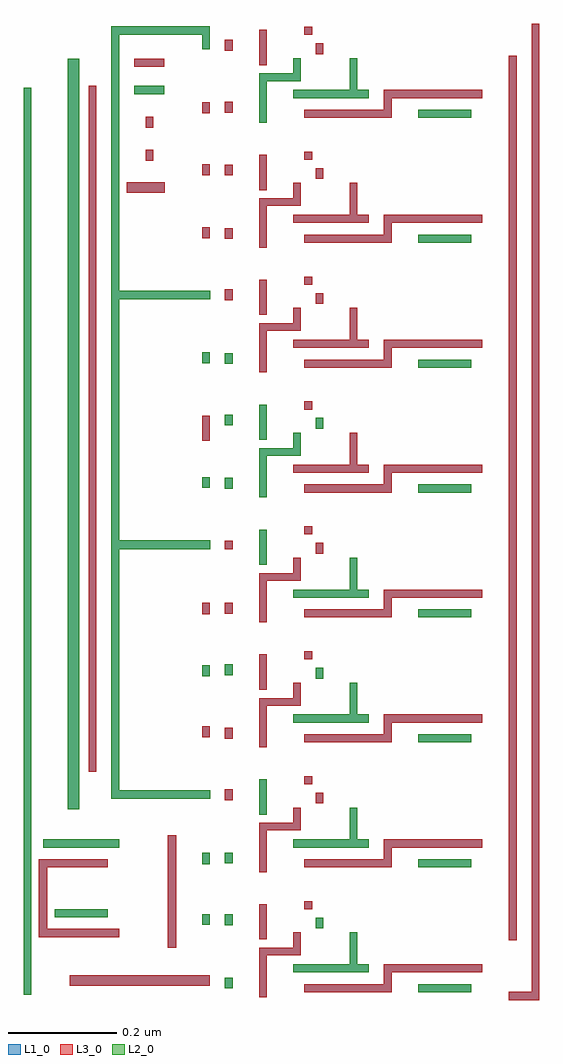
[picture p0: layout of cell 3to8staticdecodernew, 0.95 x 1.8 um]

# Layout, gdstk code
import gdstk
lib = gdstk.Library(unit=1e-6, precision=5e-10)
def R(c, l, rs):  # rectangles x0, y0, x1, y1
    for r in rs: c.add(gdstk.rectangle(r[:2], r[2:], *l))
def A(c, l, x, y, w, h, nx, ny, dx, dy):  # array of equal rectangles
    R(c, l, [(x+i*dx, y+j*dy, x+i*dx+w, y+j*dy+h) for i in range(nx) for j in range(ny)])
def P(c, l, *ps):  # polygons
    for p in ps: c.add(gdstk.Polygon(p, *l))
L1_0 = (1, 0)
L2_0 = (2, 0)
L3_0 = (3, 0)

proto_hold_nor_1r = lib.new_cell('PROTO_HOLD_nor_1R')
R(proto_hold_nor_1r, L1_0, [(0.2055,-0.113,0.2195,-0.098), (0.2475,-0.087,0.2615,-0.072), (0.2265,-0.055,0.2405,-0.04)])
R(proto_hold_nor_1r, L3_0, [(0.2265,-0.055,0.2405,-0.04)])

nand = lib.new_cell('nand')
R(nand, L1_0, [(0.258,0.1025,0.272,0.1675), (0.153,0.1235,0.167,0.1385), (0.195,0.1235,0.209,0.1385)])

inv = lib.new_cell('inv')
R(inv, L1_0, [(0.0695,0.039,0.0835,0.054), (0.0485,0.0985,0.1045,0.1135)])

invx4 = lib.new_cell('invx4')
R(invx4, L1_0, [(0.0755,0.0545,0.1735,0.0695), (0.0545,0.091,0.1945,0.106)])

buffer_highdrive = lib.new_cell('buffer_highdrive')
R(buffer_highdrive, L1_0, [(0.3675,0.0575,0.3745,0.064), (0.2835,0.096,0.29,0.101)])
P(buffer_highdrive, L1_0, [(0.259,0.1055),(0.259,0.0905),(0.2315,0.0905),(0.2315,0.054),(0.168,0.054),(0.168,0.069),(0.2165,0.069),(0.2165,0.1055)])
R(buffer_highdrive, L2_0, [(0.28,0.054,0.378,0.069)])
P(buffer_highdrive, L3_0, [(0.399,0.1055),(0.399,0.0905),(0.2315,0.0905),(0.2315,0.054),(0.07,0.054),(0.07,0.069),(0.2165,0.069),(0.2165,0.1055)])
buffer_highdrive.add(gdstk.Reference(invx4, (-0.0055,-0.0005)))
buffer_highdrive.add(gdstk.Reference(invx4, (0.2045,-0.0005)))

c_3to8staticdecodernew = lib.new_cell('3to8staticdecodernew')
A(c_3to8staticdecodernew, L1_0, 0.7785, -1.3785, 0.014, 0.074, 1, 8, 0, 0.231)
A(c_3to8staticdecodernew, L1_0, 0.6105, -1.297, 0.014, 0.02, 1, 8, 0, 0.231)
A(c_3to8staticdecodernew, L1_0, 0.7155, -1.297, 0.014, 0.02, 1, 8, 0, 0.231)
A(c_3to8staticdecodernew, L1_0, 0.5055, -0.4825, 0.014, 0.02, 1, 3, 0, 0.231)
R(c_3to8staticdecodernew, L1_0, [(0.5475,-1.408,0.5615,-1.388), (0.26,-1.4035,0.5195,-1.3835), (0.442,-1.3325,0.457,-1.1245), (1.072,-1.319,1.087,0.317), (0.5475,-1.291,0.5615,-1.271), (0.5055,-1.2905,0.5195,-1.2705), (0.2365,-1.2715,0.2435,-1.265), (0.5055,-1.178,0.5195,-1.158), (0.5475,-1.177,0.5615,-1.157), (0.214,-1.1445,0.225,-1.1335), (0.236,-1.142,0.2425,-1.137), (0.257,-1.0765,0.278,0.3115), (0.5475,-1.06,0.5615,-1.04), (0.2955,-1.0075,0.3095,0.261), (0.5475,-0.946,0.5615,-0.926), (0.5055,-0.9435,0.5195,-0.9235), (0.5055,-0.8305,0.5195,-0.8105), (0.5475,-0.829,0.5615,-0.809), (0.5055,-0.716,0.5195,-0.696), (0.5475,-0.715,0.5615,-0.695), (0.5475,-0.484,0.5615,-0.464), (0.5055,-0.395,0.5195,-0.349), (0.5475,-0.367,0.5615,-0.347), (0.5475,-0.253,0.5615,-0.233), (0.5475,-0.1355,0.5615,-0.1155), (0.5475,-0.022,0.5615,-0.002), (0.366,0.063,0.436,0.083), (0.5475,0.0955,0.5615,0.1155), (0.5055,0.096,0.5195,0.116), (0.4005,0.1225,0.4145,0.1425), (0.4005,0.184,0.4145,0.204), (0.5055,0.2105,0.5195,0.2305), (0.5475,0.2115,0.5615,0.2315), (0.3815,0.248,0.397,0.259), (0.5475,0.326,0.5615,0.346)])
P(c_3to8staticdecodernew, L1_0, [(0.688,0.3125),(0.688,0.27),(0.6245,0.27),(0.6245,0.237),(0.6105,0.237),(0.6105,0.284),(0.6735,0.284),(0.6735,0.3125)],
  [(0.688,0.0815),(0.688,0.039),(0.6245,0.039),(0.6245,0.006),(0.6105,0.006),(0.6105,0.053),(0.6735,0.053),(0.6735,0.0815)],
  [(0.688,-0.1495),(0.688,-0.192),(0.6245,-0.192),(0.6245,-0.225),(0.6105,-0.225),(0.6105,-0.178),(0.6735,-0.178),(0.6735,-0.1495)],
  [(0.688,-0.3805),(0.688,-0.423),(0.6245,-0.423),(0.6245,-0.456),(0.6105,-0.456),(0.6105,-0.409),(0.6735,-0.409),(0.6735,-0.3805)],
  [(0.688,-0.6115),(0.688,-0.654),(0.6245,-0.654),(0.6245,-0.687),(0.6105,-0.687),(0.6105,-0.64),(0.6735,-0.64),(0.6735,-0.6115)],
  [(0.688,-0.8425),(0.688,-0.885),(0.6245,-0.885),(0.6245,-0.918),(0.6105,-0.918),(0.6105,-0.871),(0.6735,-0.871),(0.6735,-0.8425)],
  [(0.688,-1.0735),(0.688,-1.116),(0.6245,-1.116),(0.6245,-1.149),(0.6105,-1.149),(0.6105,-1.102),(0.6735,-1.102),(0.6735,-1.0735)],
  [(0.688,-1.3045),(0.688,-1.347),(0.6245,-1.347),(0.6245,-1.38),(0.6105,-1.38),(0.6105,-1.333),(0.6735,-1.333),(0.6735,-1.3045)],
  [(0.247,-1.169),(0.247,-1.184),(0.2185,-1.184),(0.2185,-1.298),(0.2255,-1.298),(0.2255,-1.313),(0.2035,-1.313),(0.2035,-1.169)],
  [(1.129,0.3755),(1.129,-1.4295),(1.0725,-1.4295),(1.0725,-1.4145),(1.1145,-1.4145),(1.1145,0.3755)],
  [(0.352,0.3715),(0.352,0.371),(0.5195,0.371),(0.5195,0.3295),(0.5055,0.3295),(0.5055,0.356),(0.352,0.356),(0.352,-0.1175),(0.52,-0.1175),(0.52,-0.1335),(0.352,-0.1335),(0.352,-0.5795),(0.52,-0.5795),(0.52,-0.5955),(0.352,-0.5955),(0.352,-1.0415),(0.52,-1.0415),(0.52,-1.0575),(0.337,-1.0575),(0.337,0.3715)],
  [(0.189,0.258),(0.189,0.2315),(0.1895,0.2315),(0.1895,0.2115),(0.189,0.2115),(0.189,-1.157),(0.1895,-1.157),(0.1895,-1.177),(0.189,-1.177),(0.189,-1.388),(0.1895,-1.388),(0.1895,-1.408),(0.189,-1.408),(0.189,-1.4195),(0.175,-1.4195),(0.175,0.258)])
A(c_3to8staticdecodernew, L2_0, 0.7155, -1.297, 0.014, 0.02, 1, 3, 0, 0.462)
R(c_3to8staticdecodernew, L2_0, [(0.5475,-1.408,0.5615,-1.388), (0.5475,-1.291,0.5615,-1.271), (0.5055,-1.2905,0.5195,-1.2705), (0.2325,-1.2765,0.3305,-1.2615), (0.5055,-1.178,0.5195,-1.157), (0.5475,-1.177,0.5615,-1.157), (0.2115,-1.1475,0.3515,-1.1325), (0.6105,-1.0865,0.6245,-1.0215), (0.257,-1.0765,0.278,0.3115), (0.5055,-0.8305,0.5195,-0.8105), (0.5475,-0.829,0.5615,-0.809), (0.6105,-0.6245,0.6245,-0.5595), (0.5475,-0.484,0.5615,-0.464), (0.5055,-0.4825,0.5195,-0.4625), (0.6105,-0.3935,0.6245,-0.3285), (0.5475,-0.367,0.5615,-0.347), (0.5475,-0.253,0.5615,-0.233), (0.5055,-0.2515,0.5195,-0.2315), (0.3795,0.246,0.4355,0.261)])
P(c_3to8staticdecodernew, L2_0, [(0.7925,0.3125),(0.7925,0.2535),(0.8135,0.2535),(0.8135,0.2385),(0.6735,0.2385),(0.6735,0.2535),(0.7785,0.2535),(0.7785,0.3125)],
  [(0.7925,-0.6115),(0.7925,-0.6705),(0.8135,-0.6705),(0.8135,-0.6855),(0.6735,-0.6855),(0.6735,-0.6705),(0.7785,-0.6705),(0.7785,-0.6115)],
  [(0.7925,-0.8425),(0.7925,-0.9015),(0.8135,-0.9015),(0.8135,-0.9165),(0.6735,-0.9165),(0.6735,-0.9015),(0.7785,-0.9015),(0.7785,-0.8425)],
  [(0.7925,-1.0735),(0.7925,-1.1325),(0.8135,-1.1325),(0.8135,-1.1475),(0.6735,-1.1475),(0.6735,-1.1325),(0.7785,-1.1325),(0.7785,-1.0735)],
  [(0.7925,-1.3045),(0.7925,-1.3635),(0.8135,-1.3635),(0.8135,-1.3785),(0.6735,-1.3785),(0.6735,-1.3635),(0.7785,-1.3635),(0.7785,-1.3045)],
  [(0.688,0.3125),(0.688,0.27),(0.6245,0.27),(0.6245,0.193),(0.6105,0.193),(0.6105,0.284),(0.6735,0.284),(0.6735,0.3125)],
  [(0.688,-0.3805),(0.688,-0.423),(0.6245,-0.423),(0.6245,-0.5),(0.6105,-0.5),(0.6105,-0.409),(0.6735,-0.409),(0.6735,-0.3805)],
  [(0.352,0.3715),(0.352,0.371),(0.5195,0.371),(0.5195,0.3285),(0.5055,0.3285),(0.5055,0.356),(0.352,0.356),(0.352,-0.1175),(0.52,-0.1175),(0.52,-0.1335),(0.352,-0.1335),(0.352,-0.5795),(0.52,-0.5795),(0.52,-0.5955),(0.352,-0.5955),(0.352,-1.0415),(0.52,-1.0415),(0.52,-1.0575),(0.337,-1.0575),(0.337,0.3715)],
  [(0.189,0.258),(0.189,0.2315),(0.1895,0.2315),(0.1895,0.2115),(0.189,0.2115),(0.189,-1.157),(0.1895,-1.157),(0.1895,-1.177),(0.189,-1.177),(0.189,-1.388),(0.1895,-1.388),(0.1895,-1.408),(0.189,-1.408),(0.189,-1.4195),(0.175,-1.4195),(0.175,0.258)])
A(c_3to8staticdecodernew, L3_0, 0.7155, -1.066, 0.014, 0.02, 1, 3, 0, 0.462)
A(c_3to8staticdecodernew, L3_0, 0.6105, -0.1625, 0.014, 0.065, 1, 3, 0, 0.231)
R(c_3to8staticdecodernew, L3_0, [(0.26,-1.4035,0.5195,-1.3835), (0.442,-1.3325,0.457,-1.1245), (1.072,-1.319,1.087,0.317), (0.6105,-1.3175,0.6245,-1.2525), (0.5475,-1.06,0.5615,-1.04), (0.2955,-1.0075,0.3095,0.261), (0.5475,-0.946,0.5615,-0.926), (0.5055,-0.9435,0.5195,-0.9235), (0.6105,-0.8555,0.6245,-0.7905), (0.5055,-0.716,0.5195,-0.695), (0.5475,-0.715,0.5615,-0.695), (0.5475,-0.5955,0.5615,-0.5805), (0.5055,-0.395,0.5195,-0.349), (0.5475,-0.1355,0.5615,-0.1155), (0.5475,-0.022,0.5615,-0.002), (0.5055,-0.0205,0.5195,-0.0005), (0.366,0.063,0.436,0.083), (0.7155,0.089,0.7295,0.109), (0.5475,0.0955,0.5615,0.1155), (0.5055,0.096,0.5195,0.116), (0.4005,0.1225,0.4145,0.1425), (0.4005,0.184,0.4145,0.204), (0.5055,0.2105,0.5195,0.2305), (0.5475,0.2115,0.5615,0.2315), (0.3795,0.2965,0.4355,0.3115), (0.7155,0.32,0.7295,0.34), (0.5475,0.326,0.5615,0.346)])
P(c_3to8staticdecodernew, L3_0, [(1.129,0.3755),(1.129,-1.4295),(1.0725,-1.4295),(1.0725,-1.4145),(1.1145,-1.4145),(1.1145,0.3755)],
  [(0.7925,0.0815),(0.7925,0.0225),(0.8135,0.0225),(0.8135,0.0075),(0.6735,0.0075),(0.6735,0.0225),(0.7785,0.0225),(0.7785,0.0815)],
  [(0.7925,-0.1495),(0.7925,-0.2085),(0.8135,-0.2085),(0.8135,-0.2235),(0.6735,-0.2235),(0.6735,-0.2085),(0.7785,-0.2085),(0.7785,-0.1495)],
  [(0.7925,-0.3805),(0.7925,-0.4395),(0.8135,-0.4395),(0.8135,-0.4545),(0.6735,-0.4545),(0.6735,-0.4395),(0.7785,-0.4395),(0.7785,-0.3805)],
  [(0.688,0.0815),(0.688,0.039),(0.6245,0.039),(0.6245,-0.038),(0.6105,-0.038),(0.6105,0.053),(0.6735,0.053),(0.6735,0.0815)],
  [(0.688,-0.1495),(0.688,-0.192),(0.6245,-0.192),(0.6245,-0.269),(0.6105,-0.269),(0.6105,-0.178),(0.6735,-0.178),(0.6735,-0.1495)],
  [(0.688,-0.6115),(0.688,-0.654),(0.6245,-0.654),(0.6245,-0.731),(0.6105,-0.731),(0.6105,-0.64),(0.6735,-0.64),(0.6735,-0.6115)],
  [(0.688,-0.8425),(0.688,-0.885),(0.6245,-0.885),(0.6245,-0.962),(0.6105,-0.962),(0.6105,-0.871),(0.6735,-0.871),(0.6735,-0.8425)],
  [(0.688,-1.0735),(0.688,-1.116),(0.6245,-1.116),(0.6245,-1.193),(0.6105,-1.193),(0.6105,-1.102),(0.6735,-1.102),(0.6735,-1.0735)],
  [(0.688,-1.3045),(0.688,-1.347),(0.6245,-1.347),(0.6245,-1.424),(0.6105,-1.424),(0.6105,-1.333),(0.6735,-1.333),(0.6735,-1.3045)],
  [(0.3305,-1.169),(0.3305,-1.184),(0.2185,-1.184),(0.2185,-1.298),(0.3515,-1.298),(0.3515,-1.313),(0.2035,-1.313),(0.2035,-1.169)])
c_3to8staticdecodernew.add(gdstk.Reference(proto_hold_nor_1r, (0.468,-0.9755)))
c_3to8staticdecodernew.add(gdstk.Reference(proto_hold_nor_1r, (0.468,-0.5135)))
c_3to8staticdecodernew.add(gdstk.Reference(proto_hold_nor_1r, (0.468,-0.7445)))
c_3to8staticdecodernew.add(gdstk.Reference(proto_hold_nor_1r, (0.468,-1.2065)))
c_3to8staticdecodernew.add(gdstk.Reference(proto_hold_nor_1r, (0.468,-0.2825)))
c_3to8staticdecodernew.add(gdstk.Reference(proto_hold_nor_1r, (0.468,-0.0515)))
c_3to8staticdecodernew.add(gdstk.Reference(proto_hold_nor_1r, (0.468,0.4105)))
c_3to8staticdecodernew.add(gdstk.Reference(proto_hold_nor_1r, (0.468,0.1795)))
c_3to8staticdecodernew.add(gdstk.Reference(nand, (0.3525,-0.8335)))
c_3to8staticdecodernew.add(gdstk.Reference(nand, (0.3525,-0.457), x_reflection=True))
c_3to8staticdecodernew.add(gdstk.Reference(nand, (0.3525,-0.688), x_reflection=True))
c_3to8staticdecodernew.add(gdstk.Reference(nand, (0.3525,-1.0645)))
c_3to8staticdecodernew.add(gdstk.Reference(nand, (0.3525,-1.5265)))
c_3to8staticdecodernew.add(gdstk.Reference(nand, (0.3525,-1.2955)))
c_3to8staticdecodernew.add(gdstk.Reference(nand, (0.3525,-0.919), x_reflection=True))
c_3to8staticdecodernew.add(gdstk.Reference(nand, (0.3525,-1.15), x_reflection=True))
c_3to8staticdecodernew.add(gdstk.Reference(nand, (0.3525,-0.1405)))
c_3to8staticdecodernew.add(gdstk.Reference(nand, (0.3525,-0.6025)))
c_3to8staticdecodernew.add(gdstk.Reference(nand, (0.3525,-0.226), x_reflection=True))
c_3to8staticdecodernew.add(gdstk.Reference(nand, (0.3525,0.005), x_reflection=True))
c_3to8staticdecodernew.add(gdstk.Reference(nand, (0.3525,-0.3715)))
c_3to8staticdecodernew.add(gdstk.Reference(nand, (0.3525,0.236), x_reflection=True))
c_3to8staticdecodernew.add(gdstk.Reference(nand, (0.3525,0.467), x_reflection=True))
c_3to8staticdecodernew.add(gdstk.Reference(nand, (0.3525,0.0905)))
c_3to8staticdecodernew.add(gdstk.Reference(inv, (0.331,0.179), x_reflection=True))
c_3to8staticdecodernew.add(gdstk.Reference(inv, (0.331,0.41), x_reflection=True))
c_3to8staticdecodernew.add(gdstk.Reference(inv, (0.331,0.1475)))
c_3to8staticdecodernew.add(gdstk.Reference(invx4, (0.157,-1.207), x_reflection=True))
c_3to8staticdecodernew.add(gdstk.Reference(invx4, (0.157,-1.2385)))
c_3to8staticdecodernew.add(gdstk.Reference(buffer_highdrive, (0.6245,-0.776)))
c_3to8staticdecodernew.add(gdstk.Reference(buffer_highdrive, (0.6245,-1.238)))
c_3to8staticdecodernew.add(gdstk.Reference(buffer_highdrive, (0.6245,-0.545)))
c_3to8staticdecodernew.add(gdstk.Reference(buffer_highdrive, (0.6245,-0.314)))
c_3to8staticdecodernew.add(gdstk.Reference(buffer_highdrive, (0.6245,-1.469)))
c_3to8staticdecodernew.add(gdstk.Reference(buffer_highdrive, (0.6245,-1.007)))
c_3to8staticdecodernew.add(gdstk.Reference(buffer_highdrive, (0.6245,0.148)))
c_3to8staticdecodernew.add(gdstk.Reference(buffer_highdrive, (0.6245,-0.083)))

lib.write_gds('3to8staticdecodernew.gds')
